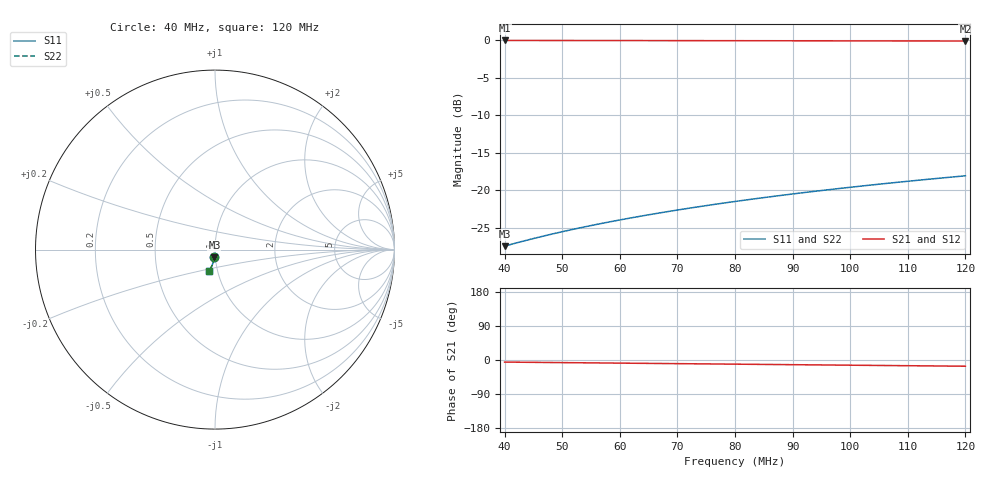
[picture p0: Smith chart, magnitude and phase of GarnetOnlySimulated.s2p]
!Agilent Technologies,E5061B,MY49102235,A.02.00 FAKE DATA CREATED BY ROBYN AND HEADER CHANGED
!Date: Mon Jul 03 10:55:16 2023
!Data & Calibration Information:
!Freq	S11:SOLT2(ON)	S21:SOLT2(ON)	S12:SOLT2(ON)	S22:SOLT2(ON)
# Hz S MA R 50
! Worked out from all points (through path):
!   81 points, 40 MHz to 120 MHz, reference 50 ohm
!   highest |S21| = -0.02 dB at 40 MHz (marker M1); lowest = -0.1 dB at 120 MHz (marker M2)
!   group delay of S21, straight-line fit = 379 ps
!   lowest |S11| = -27.4 dB at 40 MHz (marker M3), VSWR 1.09, Z = 49.5 - j4.21 ohm
!   |S11| at or under -10 dB: start of sweep to end of sweep
!   |S22| runs from -27.4 to -18.0 dB; largest |S21 - S12| = 0
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4e7  0.04257 -94.5  0.998 -5.5  0.998 -5.5  0.04257 -94.5
4.3e7  0.04574 -94.9  0.9978 -5.9  0.9978 -5.9  0.04574 -94.9
4.5e7  0.04785 -95.1  0.9977 -6.2  0.9977 -6.2  0.04785 -95.1
4.7e7  0.04996 -95.4  0.9975 -6.5  0.9975 -6.5  0.04996 -95.4
5e7  0.05313 -95.8  0.9973 -6.9  0.9973 -6.9  0.05313 -95.8
5.4e7  0.05734 -96.4  0.9969 -7.4  0.9969 -7.4  0.05734 -96.4
5.7e7  0.06049 -96.8  0.9967 -7.8  0.9967 -7.8  0.06049 -96.8
6e7  0.06363 -97.2  0.9964 -8.2  0.9964 -8.2  0.06363 -97.2
6.3e7  0.06678 -97.6  0.9961 -8.7  0.9961 -8.7  0.06678 -97.6
6.7e7  0.07096 -98.2  0.9957 -9.2  0.9957 -9.2  0.07096 -98.2
7e7  0.07409 -98.6  0.9954 -9.6  0.9954 -9.6  0.07409 -98.6
7.3e7  0.07721 -99.0  0.9951 -10.0  0.9951 -10.0  0.07721 -99.0
7.6e7  0.08033 -99.4  0.9948 -10.4  0.9948 -10.4  0.08033 -99.4
8e7  0.08447 -99.9  0.9943 -11.0  0.9943 -11.0  0.08447 -99.9
8.3e7  0.08757 -100.3  0.994 -11.4  0.994 -11.4  0.08757 -100.3
8.7e7  0.0917 -100.9  0.9935 -11.9  0.9935 -11.9  0.0917 -100.9
9e7  0.09479 -101.3  0.9931 -12.3  0.9931 -12.3  0.09479 -101.3
9.4e7  0.09889 -101.8  0.9926 -12.9  0.9926 -12.9  0.09889 -101.8
1e8  0.105 -102.7  0.9918 -13.7  0.9918 -13.7  0.105 -102.7
1.07e8  0.1121 -103.6  0.9909 -14.7  0.9909 -14.7  0.1121 -103.6
1.13e8  0.1182 -104.4  0.99 -15.5  0.99 -15.5  0.1182 -104.4
1.2e8  0.1252 -105.4  0.9889 -16.4  0.9889 -16.4  0.1252 -105.4
